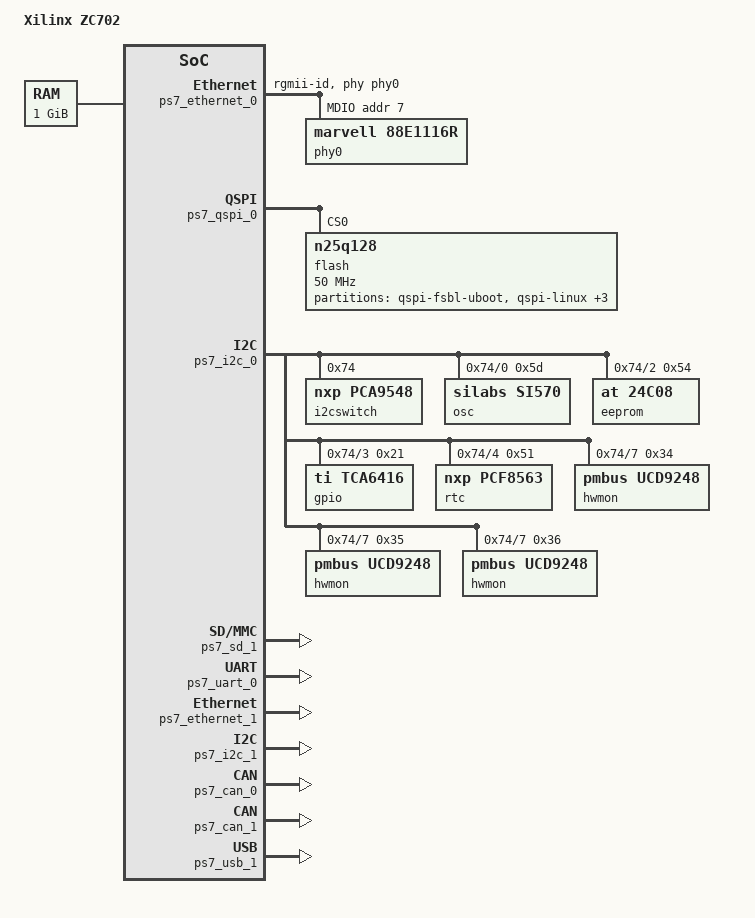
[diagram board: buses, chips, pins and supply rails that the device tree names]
/*
 * ZC702 DTS file header for generic boot.
 */

/ {
	model = "Xilinx ZC702";
	chosen {
		bootargs = "console=ttyPS0,115200 earlyprintk root=/dev/ram rw";
		linux,stdout-path = "/amba@0/serial@e0001000";
	} ;
	ps7_ddr_0: memory@0 {
		device_type = "memory";
		reg = <0x0 0x40000000>;
	} ;
	ps7_axi_interconnect_0: amba@0 {
		ps7_ethernet_0: ps7-ethernet@e000b000 {
			phy-handle = <&phy0>;
			phy-mode = "rgmii-id";
			mdio {
				phy0: phy@7 {
					compatible = "marvell,88e1116r";
					device_type = "ethernet-phy";
					reg = <7>;
				} ;
			} ;
		} ;
		ps7_qspi_0: ps7-qspi@e000d000 {
			flash@0 {
				compatible = "n25q128";
				reg = <0x0>;
				spi-tx-bus-width = <1>;
				spi-rx-bus-width = <4>;
				spi-max-frequency = <50000000>;
				#address-cells = <1>;
				#size-cells = <1>;
				partition@qspi-fsbl-uboot {
					label = "qspi-fsbl-uboot";
					reg = <0x0 0x100000>;
				};
				partition@qspi-linux {
					label = "qspi-linux";
					reg = <0x100000 0x500000>;
				};
				partition@qspi-device-tree {
					label = "qspi-device-tree";
					reg = <0x600000 0x20000>;
				};
				partition@qspi-rootfs {
					label = "qspi-rootfs";
					reg = <0x620000 0x5E0000>;
				};
				partition@qspi-bitstream {
					label = "qspi-bitstream";
					reg = <0xC00000 0x400000>;
				};
			};
		} ;
		ps7_i2c_0: ps7-i2c@e0004000 {
			/* I2C Switch */
			i2cswitch@74 {
				compatible = "nxp,pca9548";
				#address-cells = <1>;
				#size-cells = <0>;
				reg = <0x74>;

				i2c@0 {
					#address-cells = <1>;
					#size-cells = <0>;
					reg = <0>;
					osc@5d {
						#clock-cells = <0>;
						compatible = "silabs,si570";
						temperature-stability = <50>;
						reg = <0x5d>;
						factory-fout = <156250000>;
						initial-fout = <148500000>;
					};
				};

				i2c@2 {
					#address-cells = <1>;
					#size-cells = <0>;
					reg = <2>;
					eeprom@54 {
						compatible = "at,24c08";
						reg = <0x54>;
					};
				};

				i2c@3 {
					#address-cells = <1>;
					#size-cells = <0>;
					reg = <3>;
					gpio@21 {
						compatible = "ti,tca6416";
						reg = <0x21>;
						gpio-controller;
						#gpio-cells = <2>;
					};
				};

				i2c@4 {
					#address-cells = <1>;
					#size-cells = <0>;
					reg = <4>;
					rtc@54 {
						compatible = "nxp,pcf8563";
						reg = <0x51>;
					};
				};

				i2c@7 {
					#address-cells = <1>;
					#size-cells = <0>;
					reg = <7>;
					hwmon@52 {
						compatible = "pmbus,ucd9248";
						reg = <52>;
					};
					hwmon@53 {
						compatible = "pmbus,ucd9248";
						reg = <53>;
					};
					hwmon@54 {
						compatible = "pmbus,ucd9248";
						reg = <54>;
					};
				};
			};
		};
		ps7_gpio_0: ps7-gpio@e000a000 {
			gpio-mask-high = <0x0>;
			gpio-mask-low = <0x5600>;
		} ;
		ps7_usb_0: ps7-usb@e0002000 {
			usb-reset = <&ps7_gpio_0 7 0>; /* MIO USB PHY Reset */
		} ;
		
		/* Disabled Devices */
		ps7_sd_1: ps7-sdio@e0101000 { compatible = "invalid"; };
		ps7_uart_0: serial@e0000000 { compatible = "invalid"; };
		ps7_ethernet_1: ps7-ethernet@e000c000 { compatible = "invalid"; };
		ps7_i2c_1: ps7-i2c@e0005000 { compatible = "invalid"; };
		ps7_can_0: ps7-can@e0008000 { compatible = "invalid"; };
		ps7_can_1: ps7-can@e0009000 { compatible = "invalid"; };
		ps7_usb_1: ps7-usb@e0003000 { compatible = "invalid"; };
	} ;
} ;
